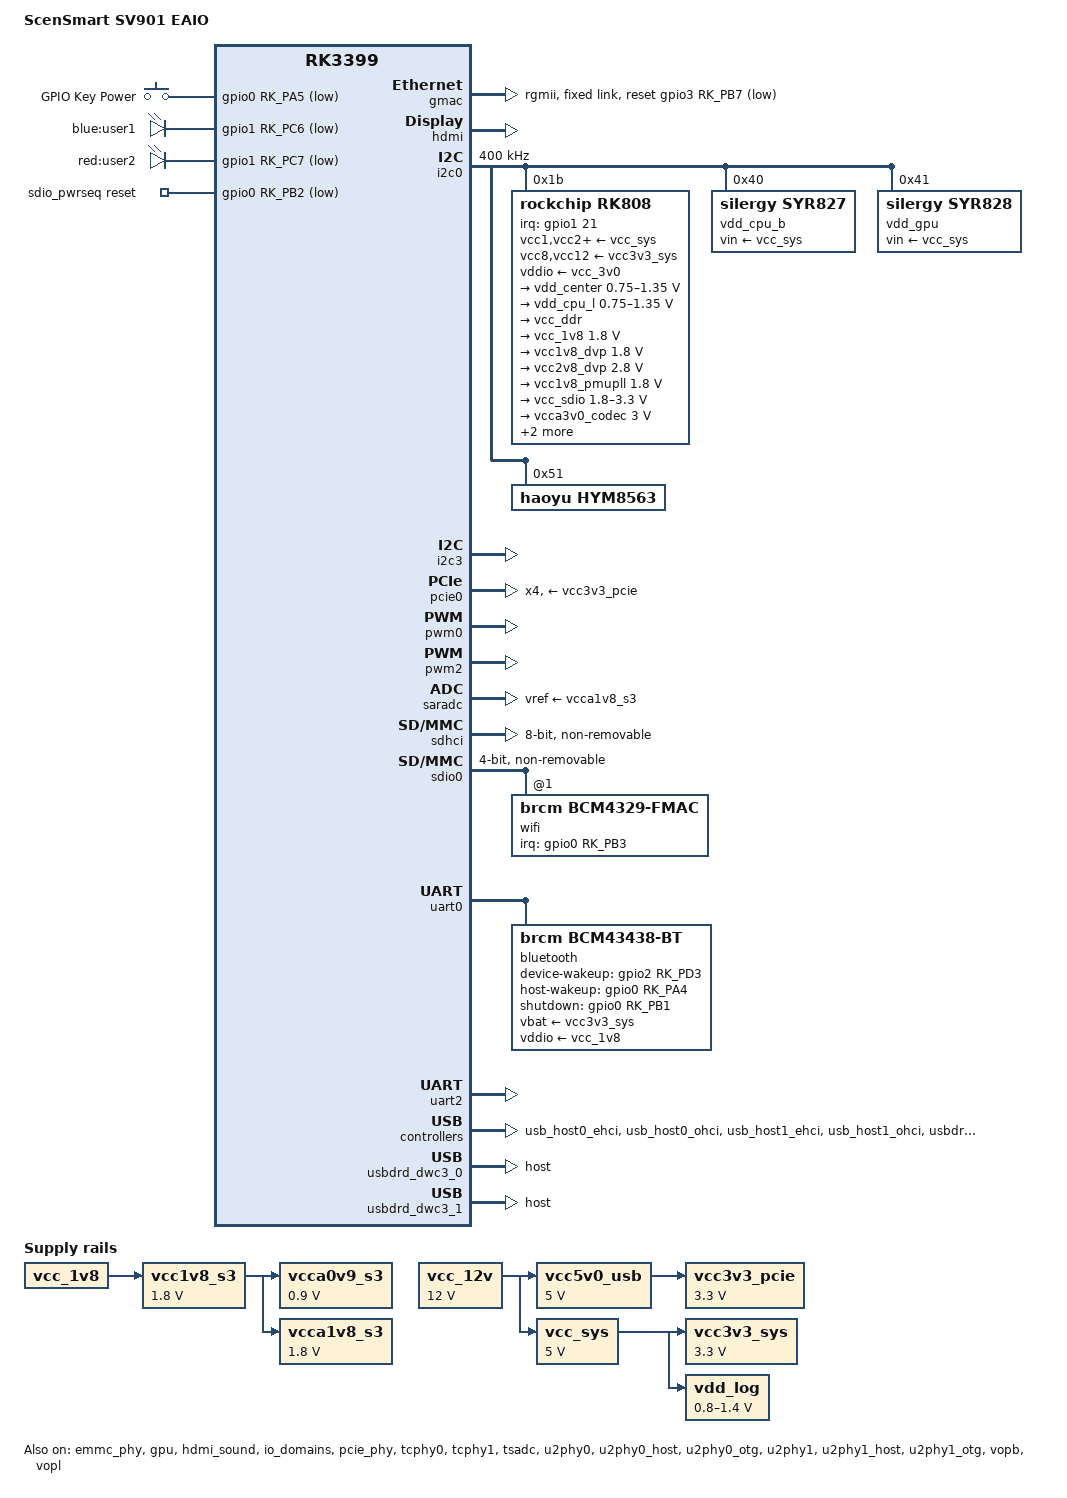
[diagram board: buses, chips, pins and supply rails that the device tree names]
// SPDX-License-Identifier: (GPL-2.0+ OR MIT)

/dts-v1/;

#include "dt-bindings/input/input.h"
#include "rk3399.dtsi"
#include "rk3399-opp.dtsi"

/ {
	model = "ScenSmart SV901 EAIO";
	compatible = "scensmart,sv901-eaio", "rockchip,rk3399";

	aliases {
		ethernet0 = &gmac;
		mmc0 = &sdhci;
		mmc1 = &sdio0;
	};

	chosen {
		stdout-path = "serial2:1500000n8";
	};

	gpio-keys {
		compatible = "gpio-keys";
		autorepeat;

		key-power {
			debounce-interval = <100>;
			gpios = <&gpio0 RK_PA5 GPIO_ACTIVE_LOW>;
			label = "GPIO Key Power";
			linux,code = <KEY_POWER>;
			pinctrl-names = "default";
			pinctrl-0 = <&pwr_key_l>;
			wakeup-source;
		};
	};

	gpio-leds {
		compatible = "gpio-leds";
		pinctrl-names = "default";
		pinctrl-0 = <&user_led1>, <&user_led2>;

		user-led1 {
			label = "blue:user1";
			gpios = <&gpio1 RK_PC6 GPIO_ACTIVE_LOW>;
			default-state = "on";
		};

		user-led2 {
			label = "red:user2";
			gpios = <&gpio1 RK_PC7 GPIO_ACTIVE_LOW>;
			default-state = "on";
		};
	};

	sdio_pwrseq: sdio-pwrseq {
		compatible = "mmc-pwrseq-simple";
		clocks = <&rk808 1>;
		clock-names = "ext_clock";
		pinctrl-names = "default";
		pinctrl-0 = <&wifi_reg_on_h>;
		reset-gpios = <&gpio0 RK_PB2 GPIO_ACTIVE_LOW>;
	};

	vcc_12v: vcc-12v {
		compatible = "regulator-fixed";
		regulator-name = "vcc_12v";
		regulator-always-on;
		regulator-boot-on;
		regulator-min-microvolt = <12000000>;
		regulator-max-microvolt = <12000000>;
	};

	/* switched by pmic_sleep */
	vcc1v8_s3: vcc1v8-s3 {
		compatible = "regulator-fixed";
		regulator-name = "vcc1v8_s3";
		regulator-always-on;
		regulator-boot-on;
		regulator-min-microvolt = <1800000>;
		regulator-max-microvolt = <1800000>;
		vin-supply = <&vcc_1v8>;
	};

	vcc3v3_pcie: vcc3v3-pcie {
		compatible = "regulator-fixed";
		regulator-name = "vcc3v3_pcie";
		regulator-always-on;
		regulator-boot-on;
		regulator-min-microvolt = <3300000>;
		regulator-max-microvolt = <3300000>;
		vin-supply = <&vcc5v0_usb>;
	};

	vcc3v3_sys: vcc3v3-sys {
		compatible = "regulator-fixed";
		regulator-name = "vcc3v3_sys";
		regulator-always-on;
		regulator-boot-on;
		regulator-min-microvolt = <3300000>;
		regulator-max-microvolt = <3300000>;
		vin-supply = <&vcc_sys>;
	};

	vcc5v0_usb: vcc5v0-usb {
		compatible = "regulator-fixed";
		regulator-name = "vcc5v0_usb";
		regulator-always-on;
		regulator-boot-on;
		regulator-min-microvolt = <5000000>;
		regulator-max-microvolt = <5000000>;
		vin-supply = <&vcc_12v>;
	};

	/* Actually supplied by vcc_1v8 */
	vcca0v9_s3: vcca0v9-s3 {
		compatible = "regulator-fixed";
		regulator-name = "vcca0v9_s3";
		regulator-always-on;
		regulator-boot-on;
		regulator-min-microvolt = <900000>;
		regulator-max-microvolt = <900000>;
		vin-supply = <&vcc1v8_s3>;
	};

	/* Actually supplied by vcc3v3_sys */
	vcca1v8_s3: vcca1v8-s3 {
		compatible = "regulator-fixed";
		regulator-name = "vcca1v8_s3";
		regulator-always-on;
		regulator-boot-on;
		regulator-min-microvolt = <1800000>;
		regulator-max-microvolt = <1800000>;
		vin-supply = <&vcc1v8_s3>;
	};

	vcc_sys: vcc-sys {
		compatible = "regulator-fixed";
		regulator-name = "vcc_sys";
		regulator-always-on;
		regulator-boot-on;
		regulator-min-microvolt = <5000000>;
		regulator-max-microvolt = <5000000>;
		vin-supply = <&vcc_12v>;
	};

	vdd_log: vdd-log {
		compatible = "pwm-regulator";
		pwms = <&pwm2 0 25000 1>;
		pwm-supply = <&vcc_sys>;
		regulator-name = "vdd_log";
		regulator-always-on;
		regulator-boot-on;
		regulator-min-microvolt = <800000>;
		regulator-max-microvolt = <1400000>;
	};

	rtl8367s {
		compatible = "realtek,rtl8367b";
		realtek,extif2 = <1 0 1 1 1 1 1 1 2>;
		mii-bus = <&mdio>;
		phy-id = <29>;
	};
};

&cpu_l0 {
	cpu-supply = <&vdd_cpu_l>;
};

&cpu_l1 {
	cpu-supply = <&vdd_cpu_l>;
};

&cpu_l2 {
	cpu-supply = <&vdd_cpu_l>;
};

&cpu_l3 {
	cpu-supply = <&vdd_cpu_l>;
};

&cpu_b0 {
	cpu-supply = <&vdd_cpu_b>;
};

&cpu_b1 {
	cpu-supply = <&vdd_cpu_b>;
};

&emmc_phy {
	status = "okay";
};

&gmac {
	assigned-clocks = <&cru SCLK_RMII_SRC>;
	assigned-clock-parents = <&cru SCLK_MAC>;
	assigned-clock-rates = <125000000>;
	clock_in_out = "input";
	phy-mode = "rgmii";
	pinctrl-names = "default";
	pinctrl-0 = <&rgmii_pins>;
	snps,reset-active-low;
	snps,reset-delays-us = <0 10000 10000>;
	snps,reset-gpio = <&gpio3 RK_PB7 GPIO_ACTIVE_LOW>;
	tx_delay = <0x28>;
	rx_delay = <0x11>;
	status = "okay";

	mdio: mdio {
		compatible = "snps,dwmac-mdio";
		#address-cells = <1>;
		#size-cells = <0>;
	};

	fixed-link {
		speed = <1000>;
		full-duplex;
	};
};

&gpu {
	mali-supply = <&vdd_gpu>;
	status = "okay";
};

&hdmi {
	avdd-0v9-supply = <&vcca0v9_s3>;
	avdd-1v8-supply = <&vcca1v8_s3>;
	ddc-i2c-bus = <&i2c3>;
	pinctrl-names = "default";
	pinctrl-0 = <&hdmi_cec>;
	status = "okay";
};

&hdmi_sound {
	status = "okay";
};

&i2c0 {
	clock-frequency = <400000>;
	i2c-scl-rising-time-ns = <168>;
	i2c-scl-falling-time-ns = <4>;
	status = "okay";

	rk808: pmic@1b {
		compatible = "rockchip,rk808";
		reg = <0x1b>;
		interrupt-parent = <&gpio1>;
		interrupts = <21 IRQ_TYPE_LEVEL_LOW>;
		#clock-cells = <1>;
		clock-output-names = "rtc_clko_soc", "rtc_clko_wifi";
		pinctrl-names = "default";
		pinctrl-0 = <&pmic_int_l>;
		rockchip,system-power-controller;
		wakeup-source;

		vcc1-supply = <&vcc_sys>;
		vcc2-supply = <&vcc_sys>;
		vcc3-supply = <&vcc_sys>;
		vcc4-supply = <&vcc_sys>;
		vcc6-supply = <&vcc_sys>;
		vcc7-supply = <&vcc_sys>;
		vcc8-supply = <&vcc3v3_sys>;
		vcc9-supply = <&vcc_sys>;
		vcc10-supply = <&vcc_sys>;
		vcc11-supply = <&vcc_sys>;
		vcc12-supply = <&vcc3v3_sys>;
		vddio-supply = <&vcc_3v0>;

		regulators {
			vdd_center: DCDC_REG1 {
				regulator-name = "vdd_center";
				regulator-always-on;
				regulator-boot-on;
				regulator-min-microvolt = <750000>;
				regulator-max-microvolt = <1350000>;
				regulator-ramp-delay = <6001>;

				regulator-state-mem {
					regulator-off-in-suspend;
				};
			};

			vdd_cpu_l: DCDC_REG2 {
				regulator-name = "vdd_cpu_l";
				regulator-always-on;
				regulator-boot-on;
				regulator-min-microvolt = <750000>;
				regulator-max-microvolt = <1350000>;
				regulator-ramp-delay = <6001>;

				regulator-state-mem {
					regulator-off-in-suspend;
				};
			};

			vcc_ddr: DCDC_REG3 {
				regulator-name = "vcc_ddr";
				regulator-always-on;
				regulator-boot-on;

				regulator-state-mem {
					regulator-on-in-suspend;
				};
			};

			vcc_1v8: DCDC_REG4 {
				regulator-name = "vcc_1v8";
				regulator-always-on;
				regulator-boot-on;
				regulator-min-microvolt = <1800000>;
				regulator-max-microvolt = <1800000>;

				regulator-state-mem {
					regulator-on-in-suspend;
					regulator-suspend-microvolt = <1800000>;
				};
			};

			vcc1v8_dvp: LDO_REG1 {
				regulator-name = "vcc1v8_dvp";
				regulator-always-on;
				regulator-boot-on;
				regulator-min-microvolt = <1800000>;
				regulator-max-microvolt = <1800000>;

				regulator-state-mem {
					regulator-off-in-suspend;
				};
			};

			vcc2v8_dvp: LDO_REG2 {
				regulator-name = "vcc2v8_dvp";
				regulator-always-on;
				regulator-boot-on;
				regulator-min-microvolt = <2800000>;
				regulator-max-microvolt = <2800000>;

				regulator-state-mem {
					regulator-off-in-suspend;
				};
			};

			vcc1v8_pmupll: LDO_REG3 {
				regulator-name = "vcc1v8_pmupll";
				regulator-always-on;
				regulator-boot-on;
				regulator-min-microvolt = <1800000>;
				regulator-max-microvolt = <1800000>;

				regulator-state-mem {
					regulator-on-in-suspend;
					regulator-suspend-microvolt = <1800000>;
				};
			};

			vcc_sdio: LDO_REG4 {
				regulator-name = "vcc_sdio";
				regulator-always-on;
				regulator-boot-on;
				regulator-min-microvolt = <1800000>;
				regulator-max-microvolt = <3300000>;

				regulator-state-mem {
					regulator-on-in-suspend;
					regulator-suspend-microvolt = <3000000>;
				};
			};

			vcca3v0_codec: LDO_REG5 {
				regulator-name = "vcca3v0_codec";
				regulator-always-on;
				regulator-boot-on;
				regulator-min-microvolt = <3000000>;
				regulator-max-microvolt = <3000000>;

				regulator-state-mem {
					regulator-off-in-suspend;
				};
			};

			vcc_1v5: LDO_REG6 {
				regulator-name = "vcc_1v5";
				regulator-always-on;
				regulator-boot-on;
				regulator-min-microvolt = <1500000>;
				regulator-max-microvolt = <1500000>;

				regulator-state-mem {
					regulator-on-in-suspend;
					regulator-suspend-microvolt = <1500000>;
				};
			};

			vcca1v8_codec: LDO_REG7 {
				regulator-name = "vcca1v8_codec";
				regulator-always-on;
				regulator-boot-on;
				regulator-min-microvolt = <1800000>;
				regulator-max-microvolt = <1800000>;

				regulator-state-mem {
					regulator-off-in-suspend;
				};
			};

			vcc_3v0: LDO_REG8 {
				regulator-name = "vcc_3v0";
				regulator-always-on;
				regulator-boot-on;
				regulator-min-microvolt = <3000000>;
				regulator-max-microvolt = <3000000>;

				regulator-state-mem {
					regulator-on-in-suspend;
					regulator-suspend-microvolt = <3000000>;
				};
			};

			vcc3v3_s3: SWITCH_REG1 {
				regulator-name = "vcc3v3_s3";
				regulator-always-on;
				regulator-boot-on;

				regulator-state-mem {
					regulator-off-in-suspend;
				};
			};

			vcc3v3_s0: SWITCH_REG2 {
				regulator-name = "vcc3v3_s0";
				regulator-always-on;
				regulator-boot-on;

				regulator-state-mem {
					regulator-off-in-suspend;
				};
			};
		};
	};

	vdd_cpu_b: regulator@40 {
		compatible = "silergy,syr827";
		reg = <0x40>;
		fcs,suspend-voltage-selector = <1>;
		pinctrl-names = "default";
		pinctrl-0 = <&cpu_b_sleep>;
		regulator-name = "vdd_cpu_b";
		regulator-min-microvolt = <712500>;
		regulator-max-microvolt = <1500000>;
		regulator-ramp-delay = <1000>;
		regulator-always-on;
		regulator-boot-on;
		vin-supply = <&vcc_sys>;

		regulator-state-mem {
			regulator-off-in-suspend;
		};
	};

	vdd_gpu: regulator@41 {
		compatible = "silergy,syr828";
		reg = <0x41>;
		fcs,suspend-voltage-selector = <1>;
		pinctrl-names = "default";
		pinctrl-0 = <&gpu_sleep>;
		regulator-name = "vdd_gpu";
		regulator-min-microvolt = <712500>;
		regulator-max-microvolt = <1500000>;
		regulator-ramp-delay = <1000>;
		regulator-always-on;
		regulator-boot-on;
		vin-supply = <&vcc_sys>;

		regulator-state-mem {
			regulator-off-in-suspend;
		};
	};

	hym8563: rtc@51 {
		compatible = "haoyu,hym8563";
		reg = <0x51>;
		#clock-cells = <0>;
		clock-output-names = "rtcic_32kout";
		wakeup-source;
	};
};

&i2c3 {
	i2c-scl-rising-time-ns = <450>;
	i2c-scl-falling-time-ns = <15>;
	status = "okay";
};

&io_domains {
	status = "okay";

	bt656-supply = <&vcc1v8_dvp>;
	audio-supply = <&vcca1v8_codec>;
	sdmmc-supply = <&vcc_sdio>;
	gpio1830-supply = <&vcc_3v0>;
};

&pcie_phy {
	status = "okay";
};

&pcie0 {
	ep-gpios = <&gpio4 RK_PD1 GPIO_ACTIVE_HIGH>;
	num-lanes = <4>;
	pinctrl-names = "default";
	pinctrl-0 = <&pcie_clkreqn_cpm>;
	vpcie3v3-supply = <&vcc3v3_pcie>;
	status = "okay";
};

&pmu_io_domains {
	pmu1830-supply = <&vcc1v8_pmupll>;
	status = "okay";
};

&pinctrl {
	buttons {
		pwr_key_l: pwr-key-l {
			rockchip,pins = <0 RK_PA5 RK_FUNC_GPIO &pcfg_pull_up>;
		};
	};

	leds {
		user_led1: user-led1 {
			rockchip,pins = <1 RK_PC6 RK_FUNC_GPIO &pcfg_pull_none>;
		};

		user_led2: user-led2 {
			rockchip,pins = <1 RK_PC7 RK_FUNC_GPIO &pcfg_pull_none>;
		};
	};

	pmic {
		cpu_b_sleep: cpu-b-sleep {
			rockchip,pins = <1 RK_PC1 RK_FUNC_GPIO &pcfg_pull_down>;
		};

		gpu_sleep: gpu-sleep {
			rockchip,pins = <1 RK_PB6 RK_FUNC_GPIO &pcfg_pull_down>;
		};

		pmic_int_l: pmic-int-l {
			rockchip,pins = <1 RK_PC5 RK_FUNC_GPIO &pcfg_pull_up>;
		};
	};

	sdio-pwrseq {
		wifi_reg_on_h: wifi-reg-on-h {
			rockchip,pins = <0 RK_PB2 RK_FUNC_GPIO &pcfg_pull_none>;
		};
	};

	wifi {
		wifi_host_wake_l: wifi-host-wake-l {
			rockchip,pins = <0 RK_PB3 RK_FUNC_GPIO &pcfg_pull_none>;
		};
	};

	bluetooth {
		bt_reg_on_h: bt-enable-h {
			rockchip,pins = <0 RK_PB1 RK_FUNC_GPIO &pcfg_pull_none>;
		};

		bt_host_wake: bt-host-wake {
			rockchip,pins = <0 RK_PA4 RK_FUNC_GPIO &pcfg_pull_none>;
		};

		bt_wake_l: bt-wake-l {
			rockchip,pins = <2 RK_PD3 RK_FUNC_GPIO &pcfg_pull_none>;
		};
	};
};

&pwm0 {
	status = "okay";
};

&pwm2 {
	status = "okay";
};

&saradc {
	vref-supply = <&vcca1v8_s3>;
	status = "okay";
};

&sdhci {
	bus-width = <8>;
	mmc-hs200-1_8v;
	non-removable;
	status = "okay";
};

&sdio0 {
	#address-cells = <1>;
	#size-cells = <0>;
	bus-width = <4>;
	cap-sd-highspeed;
	cap-sdio-irq;
	clock-frequency = <50000000>;
	keep-power-in-suspend;
	mmc-pwrseq = <&sdio_pwrseq>;
	non-removable;
	pinctrl-names = "default";
	pinctrl-0 = <&sdio0_bus4 &sdio0_cmd &sdio0_clk>;
	sd-uhs-sdr104;
	status = "okay";

	wifi@1 {
		compatible = "brcm,bcm4329-fmac";
		reg = <1>;
		interrupt-parent = <&gpio0>;
		interrupts = <RK_PB3 IRQ_TYPE_LEVEL_HIGH>;
		interrupt-names = "host-wake";
		pinctrl-names = "default";
		pinctrl-0 = <&wifi_host_wake_l>;
	};
};

&tcphy0 {
	status = "okay";
};

&tcphy1 {
	status = "okay";
};

&tsadc {
	rockchip,hw-tshut-mode = <1>;
	rockchip,hw-tshut-polarity = <1>;
	status = "okay";
};

&u2phy0 {
	status = "okay";
};

&u2phy0_host {
	phy-supply = <&vcc5v0_usb>;
	status = "okay";
};

&u2phy0_otg {
	phy-supply = <&vcc5v0_usb>;
	status = "okay";
};

&u2phy1 {
	status = "okay";
};

&u2phy1_host {
	phy-supply = <&vcc5v0_usb>;
	status = "okay";
};

&u2phy1_otg {
	phy-supply = <&vcc5v0_usb>;
	status = "okay";
};

&uart0 {
	pinctrl-names = "default";
	pinctrl-0 = <&uart0_xfer &uart0_cts &uart0_rts>;
	status = "okay";

	bluetooth {
		compatible = "brcm,bcm43438-bt";
		clocks = <&rk808 1>;
		clock-names = "lpo";
		device-wakeup-gpios = <&gpio2 RK_PD3 GPIO_ACTIVE_HIGH>;
		host-wakeup-gpios = <&gpio0 RK_PA4 GPIO_ACTIVE_HIGH>;
		shutdown-gpios = <&gpio0 RK_PB1 GPIO_ACTIVE_HIGH>;
		pinctrl-names = "default";
		pinctrl-0 = <&bt_host_wake &bt_wake_l &bt_reg_on_h>;
		vbat-supply = <&vcc3v3_sys>;
		vddio-supply = <&vcc_1v8>;
	};
};

&uart2 {
	status = "okay";
};

&usb_host0_ehci {
	status = "okay";
};

&usb_host0_ohci {
	status = "okay";
};

&usb_host1_ehci {
	status = "okay";
};

&usb_host1_ohci {
	status = "okay";
};

&usbdrd3_0 {
	status = "okay";
};

&usbdrd_dwc3_0 {
	dr_mode = "host";
	status = "okay";
};

&usbdrd3_1 {
	status = "okay";
};

&usbdrd_dwc3_1 {
	dr_mode = "host";
	status = "okay";
};

&vopb {
	status = "okay";
};

&vopb_mmu {
	status = "okay";
};

&vopl {
	status = "okay";
};

&vopl_mmu {
	status = "okay";
};
